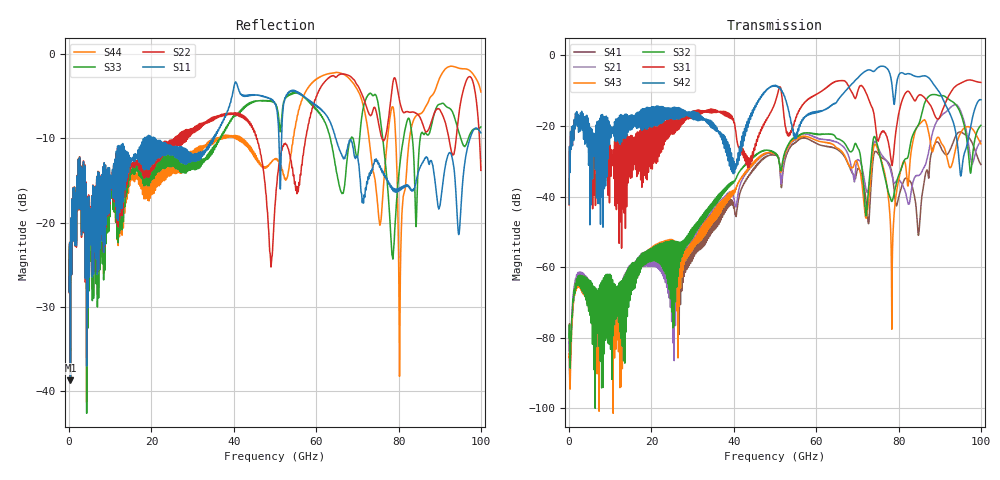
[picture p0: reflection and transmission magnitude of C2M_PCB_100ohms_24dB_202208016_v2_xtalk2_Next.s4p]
! Info: Touchstone file created by Circ.  Input file=Intel_C2M_200G_9p5in_202208016_staggered.circ
# Hz S RI R 50
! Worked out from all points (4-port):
!   10000 points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, 10 MHz to 100 GHz, reference 50 ohm
!   strongest paths, dB at 10 MHz, 25.01 GHz, 50.01 GHz, 75.01 GHz, 100 GHz:
!     S42: -42.1, -14.9, -8.5, -3.4, -12.6
!     S31: -42.3, -17.8, -13.4, -24.2, -7.6
!     S32: -80.1, -55.3, -27.9, -26.1, -19.8
!     S43: -84.5, -54.1, -27.9, -26.8, -25.0
!     S21: -81.1, -55.4, -28.0, -26.0, -24.2
!     S41: -83.5, -55.6, -28.2, -27.8, -30.9
!   lowest |S11| = -38.7 dB at 330 MHz (marker M1), VSWR 1.02, Z = 49.1 + j0.712 ohm
!   |S11| at or under -10 dB: start of sweep to 18.33 GHz; 20.85 GHz to 34.83 GHz (13.97 GHz wide, 50.2 % of centre); 64.78 GHz to 97.38 GHz (32.61 GHz wide, 40.2 % of centre)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
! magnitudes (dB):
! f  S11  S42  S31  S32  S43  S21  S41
! 10 MHz  -28.2  -42.1  -42.3  -80.1  -84.5  -81.1  -83.5
! 330 MHz  -38.7  -22.5  -22.6  -83.8  -88.5  -84.3  -84.2
! 56.34 GHz  -4.8  -19.2  -14.5  -22.3  -23.1  -22.4  -23.5
! 74.56 GHz  -12.5  -3.9  -21.4  -24.0  -25.4  -24.8  -27.2
! 78.41 GHz  -15.9  -8.3  -31.2  -41.3  -66.5  -34.0  -33.3
! 84.94 GHz  -13.8  -6.0  -11.2  -19.4  -19.7  -34.0  -50.4
! 100 GHz  -9.4  -12.6  -7.6  -19.8  -25.0  -24.2  -30.9
